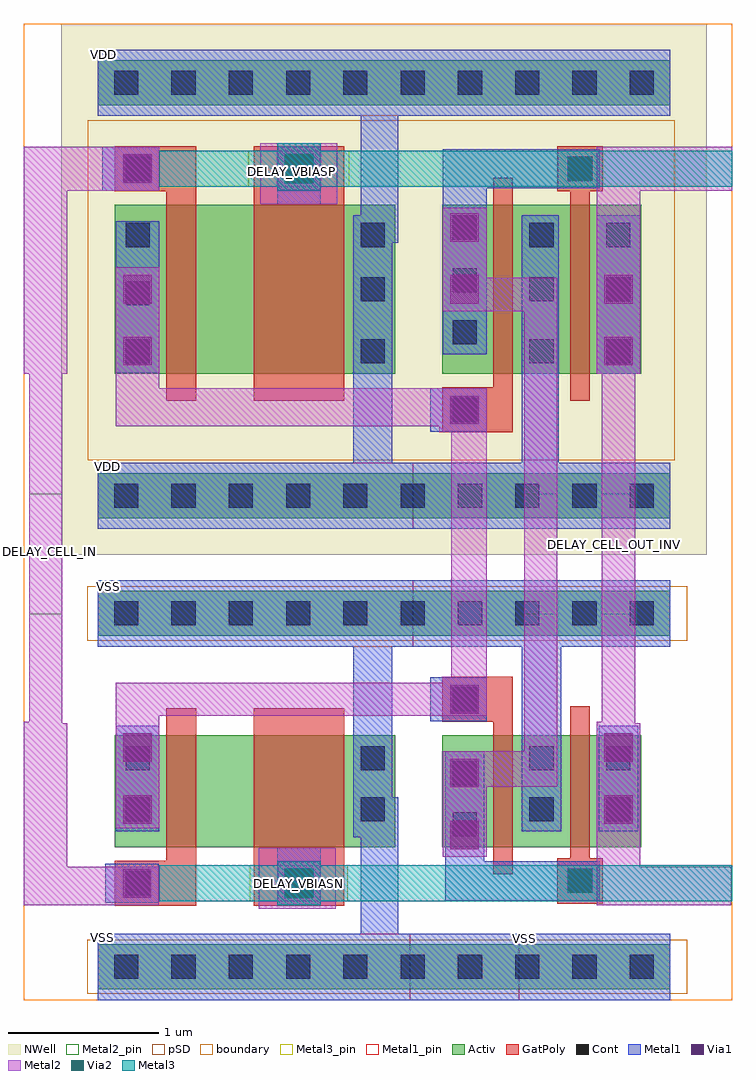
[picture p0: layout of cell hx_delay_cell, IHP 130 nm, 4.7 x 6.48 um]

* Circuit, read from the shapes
.subckt hx_delay_cell DELAY_CELL_IN DELAY_CELL_OUT DELAY_CELL_OUT_INV DELAY_VBIASN DELAY_VBIASP VDD VSS
XM1 n1 DELAY_CELL_IN n2 VSS sg13_lv_nmos w=0.74u l=0.2u
XM2 VSS DELAY_VBIASN n1 VSS sg13_lv_nmos w=0.74u l=0.6u
XM3 VSS n2 DELAY_CELL_OUT VSS sg13_lv_nmos w=0.74u l=0.13u
XM4 DELAY_CELL_OUT_INV DELAY_CELL_OUT VSS VSS sg13_lv_nmos w=0.74u l=0.13u
XM5 n3 DELAY_CELL_IN n2 VDD sg13_lv_pmos w=1.12u l=0.2u
XM6 VDD DELAY_VBIASP n3 VDD sg13_lv_pmos w=1.12u l=0.6u
XM7 VDD n2 DELAY_CELL_OUT VDD sg13_lv_pmos w=1.12u l=0.13u
XM8 DELAY_CELL_OUT_INV DELAY_CELL_OUT VDD VDD sg13_lv_pmos w=1.12u l=0.13u
.ends

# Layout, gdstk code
import gdstk
lib = gdstk.Library(unit=1e-6, precision=1e-09)
def R(c, l, rs):  # rectangles x0, y0, x1, y1
    for r in rs: c.add(gdstk.rectangle(r[:2], r[2:], *l))
def A(c, l, x, y, w, h, nx, ny, dx, dy):  # array of equal rectangles
    R(c, l, [(x+i*dx, y+j*dy, x+i*dx+w, y+j*dy+h) for i in range(nx) for j in range(ny)])
def P(c, l, *ps):  # polygons
    for p in ps: c.add(gdstk.Polygon(p, *l))
Activ = (1, 0)
GatPoly = (5, 0)
Cont = (6, 0)
Metal1 = (8, 0)
Metal1_pin = (8, 2)
Metal2 = (10, 0)
Metal2_pin = (10, 2)
pSD = (14, 0)
Via1 = (19, 0)
Via2 = (29, 0)
Metal3 = (30, 0)
Metal3_pin = (30, 2)
NWell = (31, 0)
boundary = (189, 4)

hx_delay_cell = lib.new_cell('hx_delay_cell')
R(hx_delay_cell, Activ, [(0.49,0.07,4.29,0.37), (0.605,1.015,2.465,1.755), (2.775,1.015,4.095,1.755), (0.49,2.415,4.29,2.715), (0.49,3.195,4.29,3.495), (0.605,4.155,2.465,5.275), (2.775,4.155,4.095,5.275), (0.49,5.935,4.29,6.235)])
R(hx_delay_cell, GatPoly, [(1.525,0.625,2.125,1.935), (1.525,3.975,2.125,5.665)])
P(hx_delay_cell, GatPoly, [(0.605,0.625),(0.605,0.925),(0.945,0.925),(0.945,1.935),(1.145,1.935),(1.145,0.625)],
  [(0.945,3.975),(0.945,5.365),(0.605,5.365),(0.605,5.665),(1.145,5.665),(1.145,3.975)],
  [(2.775,3.765),(2.775,4.065),(3.115,4.065),(3.115,5.455),(3.245,5.455),(3.245,3.765)],
  [(3.625,3.975),(3.625,5.365),(3.54,5.365),(3.54,5.665),(3.84,5.665),(3.84,5.365),(3.755,5.365),(3.755,3.975)],
  [(3.115,0.835),(3.115,1.845),(2.775,1.845),(2.775,2.145),(3.245,2.145),(3.245,0.835)],
  [(3.54,0.64),(3.54,0.94),(3.625,0.94),(3.625,1.95),(3.755,1.95),(3.755,0.94),(3.84,0.94),(3.84,0.64)])
A(hx_delay_cell, Cont, 0.6, 0.14, 0.16, 0.16, 10, 2, 0.38, 2.345)
A(hx_delay_cell, Cont, 0.6, 3.265, 0.16, 0.16, 10, 2, 0.38, 2.74)
A(hx_delay_cell, Cont, 0.675, 4.225, 0.16, 0.16, 1, 3, 0, 0.385)
R(hx_delay_cell, Cont, [(0.675,0.695,0.835,0.855), (1.745,0.695,1.905,0.855), (3.61,0.71,3.77,0.87), (2.845,1.085,3.005,1.245), (0.675,1.185,0.835,1.345), (2.235,1.185,2.395,1.345), (3.355,1.185,3.515,1.345), (3.865,1.185,4.025,1.345), (2.845,1.425,3.005,1.585), (0.675,1.525,0.835,1.685), (2.235,1.525,2.395,1.685), (3.355,1.525,3.515,1.685), (3.865,1.525,4.025,1.685), (2.845,1.915,3.005,2.075), (2.845,3.835,3.005,3.995), (2.235,4.225,2.395,4.385), (3.355,4.225,3.515,4.385), (3.865,4.225,4.025,4.385), (2.845,4.35,3.005,4.51), (2.235,4.635,2.395,4.795), (3.355,4.635,3.515,4.795), (3.865,4.635,4.025,4.795), (2.845,4.695,3.005,4.855), (2.235,4.995,2.395,5.155), (3.355,4.995,3.515,5.155), (3.865,4.995,4.025,5.155), (2.845,5.045,3.005,5.205), (0.675,5.435,0.835,5.595), (1.745,5.435,1.905,5.595), (3.61,5.435,3.77,5.595)])
R(hx_delay_cell, Metal1, [(1.68,0.63,1.97,1.01), (0.54,0.645,0.895,0.905), (0.61,1.12,0.9,1.82), (3.815,1.12,4.075,1.82), (2.695,1.85,3.07,2.14), (2.695,3.77,3.07,4.06), (3.8,4.155,4.09,5.205), (0.61,4.16,0.9,5.165), (1.68,5.28,1.97,5.66), (0.52,5.37,0.9,5.66)])
P(hx_delay_cell, Metal1, [(2.795,0.66),(2.795,1.65),(3.055,1.65),(3.055,0.92),(3.82,0.92),(3.82,0.66)],
  [(2.78,4.285),(2.78,5.645),(3.82,5.645),(3.82,5.385),(3.07,5.385),(3.07,4.285)],
  [(0.49,0),(0.49,0.44),(2.235,0.44),(2.235,1.08),(2.185,1.08),(2.185,2.345),(0.49,2.345),(0.49,2.785),(4.29,2.785),(4.29,2.345),(3.565,2.345),(3.565,1.12),(3.305,1.12),(3.305,2.345),(2.445,2.345),(2.445,1.345),(2.485,1.345),(2.485,0.44),(4.29,0.44),(4.29,0)],
  [(0.49,3.125),(0.49,3.565),(2.185,3.565),(2.185,5.205),(2.235,5.205),(2.235,5.865),(0.49,5.865),(0.49,6.305),(4.29,6.305),(4.29,5.865),(2.485,5.865),(2.485,5.025),(2.445,5.025),(2.445,3.565),(3.305,3.565),(3.305,5.205),(3.55,5.205),(3.55,3.565),(4.29,3.565),(4.29,3.125)])
R(hx_delay_cell, Metal1_pin, [(0.49,0,2.565,0.44), (3.285,0,4.29,0.44), (0.49,2.345,2.585,2.785), (0.49,3.125,2.585,3.565), (0.49,5.865,4.29,6.305)])
R(hx_delay_cell, Metal2, [(1.56,0.605,2.07,1.01), (1.57,5.28,2.08,5.685)])
P(hx_delay_cell, Metal2, [(0,0.63),(0,1.845),(0.035,1.845),(0.035,4.155),(0,4.155),(0,5.66),(0.9,5.66),(0.9,5.37),(0.29,5.37),(0.29,4.155),(0.255,4.155),(0.255,1.835),(0.29,1.835),(0.29,0.885),(0.895,0.885),(0.895,0.63)],
  [(0.61,1.14),(0.61,2.105),(2.775,2.105),(2.775,2.145),(2.835,2.145),(2.835,3.765),(2.755,3.765),(2.755,3.805),(0.61,3.805),(0.61,4.86),(0.9,4.86),(0.9,4.06),(3.07,4.06),(3.07,1.885),(0.9,1.885),(0.9,1.14)],
  [(2.78,0.95),(2.78,1.65),(3.32,1.65),(3.32,4.57),(2.78,4.57),(2.78,5.255),(3.07,5.255),(3.07,4.79),(3.54,4.79),(3.54,1.415),(3.07,1.415),(3.07,0.95)],
  [(3.8,0.63),(3.8,1.845),(3.835,1.845),(3.835,4.155),(3.8,4.155),(3.8,5.66),(4.7,5.66),(4.7,5.37),(4.09,5.37),(4.09,4.155),(4.055,4.155),(4.055,1.835),(4.09,1.835),(4.09,0.885),(4.695,0.885),(4.695,0.63)])
R(hx_delay_cell, Metal2_pin, [(0.035,2.56,0.255,3.36), (3.32,2.56,3.54,3.36), (3.835,2.56,4.055,3.36)])
R(hx_delay_cell, pSD, [(0.42,0.04,4.4,0.4), (0.42,2.385,4.4,2.745), (0.425,3.58,4.32,5.835)])
R(hx_delay_cell, Via1, [(0.655,0.68,0.845,0.87), (1.73,0.68,1.92,0.87), (2.83,1,3.02,1.19), (0.66,1.17,0.85,1.36), (3.85,1.17,4.04,1.36), (2.83,1.41,3.02,1.6), (0.66,1.58,0.85,1.77), (3.85,1.58,4.04,1.77), (2.83,1.9,3.02,2.09), (2.83,3.82,3.02,4.01), (0.66,4.21,0.85,4.4), (3.85,4.21,4.04,4.4), (0.66,4.62,0.85,4.81), (2.83,4.62,3.02,4.81), (3.85,4.62,4.04,4.81), (2.83,5.03,3.02,5.22), (0.66,5.42,0.85,5.61), (1.73,5.42,1.92,5.61)])
R(hx_delay_cell, Via2, [(1.73,0.68,1.92,0.87), (1.73,5.42,1.92,5.61)])
P(hx_delay_cell, Metal3, [(1.68,5.37),(1.68,5.395),(0.9,5.395),(0.9,5.635),(1.68,5.635),(1.68,5.685),(1.97,5.685),(1.97,5.635),(4.7,5.635),(4.7,5.395),(1.97,5.395),(1.97,5.37)],
  [(1.68,0.63),(1.68,0.655),(0.9,0.655),(0.9,0.895),(1.68,0.895),(1.68,0.92),(1.97,0.92),(1.97,0.895),(4.7,0.895),(4.7,0.655),(1.97,0.655),(1.97,0.63)])
R(hx_delay_cell, Metal3_pin, [(1.5,0.655,2.15,0.895), (1.49,5.395,2.16,5.635)])
R(hx_delay_cell, NWell, [(0.25,2.955,4.53,6.475)])
R(hx_delay_cell, boundary, [(0,0,4.7,6.475)])
hx_delay_cell.add(gdstk.Label('VDD', (0.53,6.27), layer=8, texttype=25))
hx_delay_cell.add(gdstk.Label('VSS', (3.325,0.41), layer=8, texttype=25))
hx_delay_cell.add(gdstk.Label('VDD', (0.555,3.54), layer=8, texttype=25))
hx_delay_cell.add(gdstk.Label('VSS', (0.56,2.745), layer=8, texttype=25))
hx_delay_cell.add(gdstk.Label('VSS', (0.52,0.415), layer=8, texttype=25))
hx_delay_cell.add(gdstk.Label('DELAY_CELL_OUT_INV', (3.92,3.02), layer=10, texttype=25))
hx_delay_cell.add(gdstk.Label('DELAY_CELL_OUT', (3.405,3.01), layer=10, texttype=25))
hx_delay_cell.add(gdstk.Label('DELAY_CELL_IN', (0.17,2.975), layer=10, texttype=25))
hx_delay_cell.add(gdstk.Label('DELAY_VBIASP', (1.775,5.495), layer=30, texttype=25))
hx_delay_cell.add(gdstk.Label('DELAY_VBIASN', (1.82,0.775), layer=30, texttype=25))

lib.write_gds('hx_delay_cell.gds')
